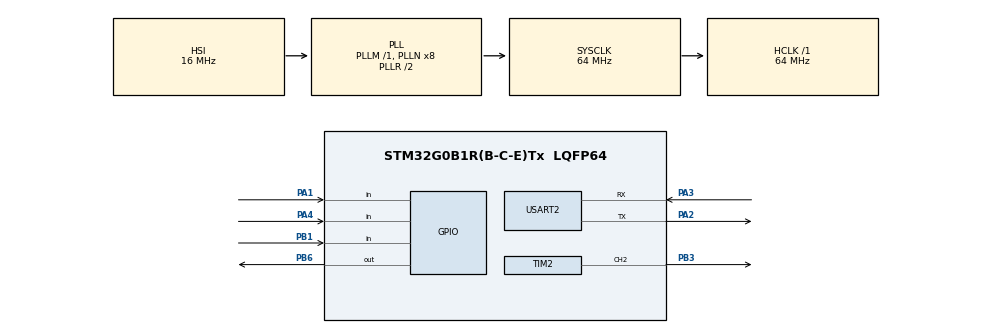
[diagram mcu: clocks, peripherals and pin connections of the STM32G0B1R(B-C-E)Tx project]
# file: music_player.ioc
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Mcu.Family=STM32G0
Mcu.Name=STM32G0B1R(B-C-E)Tx
Mcu.Package=LQFP64
NVIC.USART2_LPUART2_IRQn=true\:0\:0\:false\:false\:true\:true\:true\:true
PA1.Signal=GPIO_Input
PA2.Mode=Asynchronous
PA2.Signal=USART2_TX
PA3.Mode=Asynchronous
PA3.Signal=USART2_RX
PA4.Signal=GPIO_Input
PB1.Signal=GPIO_Input
PB3.Signal=S_TIM2_CH2
PB6.Signal=GPIO_Output
PF0-OSC_IN\ (PF0).Mode=HSE-External-Oscillator
PF0-OSC_IN\ (PF0).Signal=RCC_OSC_IN
PF1-OSC_OUT\ (PF1).Mode=HSE-External-Oscillator
PF1-OSC_OUT\ (PF1).Signal=RCC_OSC_OUT
ProjectManager.HeapSize=0x200
ProjectManager.StackSize=0x400
ProjectManager.TargetToolchain=STM32CubeIDE
RCC.ADCFreq_Value=64000000
RCC.AHBFreq_Value=64000000
RCC.CortexFreq_Value=64000000
RCC.EXTERNAL_CLOCK_VALUE=48000
RCC.HCLKFreq_Value=64000000
RCC.HSE_VALUE=8000000
RCC.HSI48_VALUE=48000000
RCC.HSI_VALUE=16000000
RCC.LSE_VALUE=32768
RCC.SYSCLKFreq_VALUE=64000000
RCC.SYSCLKSource=RCC_SYSCLKSOURCE_PLLCLK
RCC.USBFreq_Value=48000000
RCC.VCOOutputFreq_Value=128000000
SH.S_TIM2_CH2.0=TIM2_CH2,PWM Generation2 CH2
TIM2.Channel-PWM\ Generation2\ CH2=TIM_CHANNEL_2
TIM2.Period=400
TIM2.Prescaler=64
USART2.VirtualMode-Asynchronous=VM_ASYNC
VP_SYS_VS_DBSignals.Mode=DisableDeadBatterySignals
VP_TIM2_VS_ClockSourceINT.Mode=Internal
board=custom

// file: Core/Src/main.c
/* USER CODE BEGIN Header */
/**
  ******************************************************************************
  * @file           : main.c
  * @brief          : Main program body
  ******************************************************************************
  * @attention
  *
  * Copyright (c) 2024 STMicroelectronics.
  * All rights reserved.
  *
  * This software is licensed under terms that can be found in the LICENSE file
  * in the root directory of this software component.
  * If no LICENSE file comes with this software, it is provided AS-IS.
  *
  ******************************************************************************
  */
/* USER CODE END Header */
#include "main.h"

/* USER CODE BEGIN Includes */

#include "notes.h"
#include "songs.h"

/* USER CODE END Includes */

TIM_HandleTypeDef htim2;

UART_HandleTypeDef huart2;

void SystemClock_Config(void);
static void MX_GPIO_Init(void);
static void MX_USART2_UART_Init(void);
static void MX_TIM2_Init(void);

int main(void)
{

  /* MCU Configuration--------------------------------------------------------*/

  /* Reset of all peripherals, Initializes the Flash interface and the Systick. */
  HAL_Init();

  /* Configure the system clock */
  SystemClock_Config();

  /* Initialize all configured peripherals */
  MX_GPIO_Init();
  MX_USART2_UART_Init();
  MX_TIM2_Init();

  /* Infinite loop */
  /* USER CODE BEGIN WHILE */
  HAL_TIM_Base_Start(&htim2);
  HAL_TIM_PWM_Start(&htim2, TIM_CHANNEL_2);
  __HAL_TIM_ENABLE_IT(&htim2, TIM_IT_UPDATE);

  uint8_t Rx_data[4];
  uint8_t lastNote;
  uint8_t lastCMD;

  short noteON = 0;
  short midiMode = 0;

  struct MIDI_message {
    union {
      struct {
        uint8_t channel : 4;
        uint8_t message_type : 4;
      };
      uint8_t status;
    };
    uint8_t data1;
    uint8_t data2;
  };

  while (1)
  {
	 /* */

	  if (midiMode) {
		  while(HAL_UART_Receive(&huart2, Rx_data, 3, 20) != HAL_OK);
	  }
	    // receive 4 bytes of data

	  uint8_t midi_status = Rx_data[0];
	  uint8_t cmd  = (midi_status & 0b11110000);
	  uint8_t chan  = (midi_status & 0b00001111);
	  uint8_t note = Rx_data[1];
	  uint8_t vel = Rx_data[2];

	  if(cmd == NOTE_ON && (noteON == 0 || note != lastNote)) {
		  note_start(midi_notes[note - 48]);
		  lastNote = note;

		/* uint8_t out[20];
		 sprintf(out, "|%d, %d, %d, %d\n\r", Rx_data[0], note, note, lastCMD);
		 HAL_UART_Transmit(&huart2, out, sizeof(out), 10);*/

		  noteON = 1;

	  } else if(cmd == NOTE_OFF) {
		  no_tone();
		  noteON = 0;
	  }

	  lastCMD = cmd;

	  if(HAL_GPIO_ReadPin (GPIOA, GPIO_PIN_1 ) == 0)
	  {
		  play_poker_face();
	  }

	  if(HAL_GPIO_ReadPin (GPIOB, GPIO_PIN_1 ) == 0)
	  	  {
		  play_faded();
	  	  }

	  if(HAL_GPIO_ReadPin (GPIOA, GPIO_PIN_4 ) == 0)
	  	  {
		  	  HAL_Delay(1000);
		  	  if(HAL_GPIO_ReadPin (GPIOA, GPIO_PIN_4 ) == 0) midiMode = !midiMode;
		  	  else play_pirates_carribbean();
	  	  }

	  HAL_Delay(5);

    /* USER CODE END WHILE */

  }
}

void SystemClock_Config(void)
{
  RCC_OscInitTypeDef RCC_OscInitStruct = {0};
  RCC_ClkInitTypeDef RCC_ClkInitStruct = {0};

  /** Configure the main internal regulator output voltage
  */
  HAL_PWREx_ControlVoltageScaling(PWR_REGULATOR_VOLTAGE_SCALE1);

  /** Initializes the RCC Oscillators according to the specified parameters
  * in the RCC_OscInitTypeDef structure.
  */
  RCC_OscInitStruct.OscillatorType = RCC_OSCILLATORTYPE_HSI;
  RCC_OscInitStruct.HSIState = RCC_HSI_ON;
  RCC_OscInitStruct.HSIDiv = RCC_HSI_DIV1;
  RCC_OscInitStruct.HSICalibrationValue = RCC_HSICALIBRATION_DEFAULT;
  RCC_OscInitStruct.PLL.PLLState = RCC_PLL_ON;
  RCC_OscInitStruct.PLL.PLLSource = RCC_PLLSOURCE_HSI;
  RCC_OscInitStruct.PLL.PLLM = RCC_PLLM_DIV1;
  RCC_OscInitStruct.PLL.PLLN = 8;
  RCC_OscInitStruct.PLL.PLLP = RCC_PLLP_DIV2;
  RCC_OscInitStruct.PLL.PLLQ = RCC_PLLQ_DIV2;
  RCC_OscInitStruct.PLL.PLLR = RCC_PLLR_DIV2;
  if (HAL_RCC_OscConfig(&RCC_OscInitStruct) != HAL_OK)
  {
    Error_Handler();
  }

  /** Initializes the CPU, AHB and APB buses clocks
  */
  RCC_ClkInitStruct.ClockType = RCC_CLOCKTYPE_HCLK|RCC_CLOCKTYPE_SYSCLK
                              |RCC_CLOCKTYPE_PCLK1;
  RCC_ClkInitStruct.SYSCLKSource = RCC_SYSCLKSOURCE_PLLCLK;
  RCC_ClkInitStruct.AHBCLKDivider = RCC_SYSCLK_DIV1;
  RCC_ClkInitStruct.APB1CLKDivider = RCC_HCLK_DIV1;

  if (HAL_RCC_ClockConfig(&RCC_ClkInitStruct, FLASH_LATENCY_2) != HAL_OK)
  {
    Error_Handler();
  }
}

static void MX_TIM2_Init(void)
{

  TIM_ClockConfigTypeDef sClockSourceConfig = {0};
  TIM_MasterConfigTypeDef sMasterConfig = {0};
  TIM_OC_InitTypeDef sConfigOC = {0};

  htim2.Instance = TIM2;
  htim2.Init.Prescaler = 64;
  htim2.Init.CounterMode = TIM_COUNTERMODE_UP;
  htim2.Init.Period = 400;
  htim2.Init.ClockDivision = TIM_CLOCKDIVISION_DIV1;
  htim2.Init.AutoReloadPreload = TIM_AUTORELOAD_PRELOAD_DISABLE;
  if (HAL_TIM_Base_Init(&htim2) != HAL_OK)
  {
    Error_Handler();
  }
  sClockSourceConfig.ClockSource = TIM_CLOCKSOURCE_INTERNAL;
  if (HAL_TIM_ConfigClockSource(&htim2, &sClockSourceConfig) != HAL_OK)
  {
    Error_Handler();
  }
  if (HAL_TIM_PWM_Init(&htim2) != HAL_OK)
  {
    Error_Handler();
  }
  sMasterConfig.MasterOutputTrigger = TIM_TRGO_RESET;
  sMasterConfig.MasterSlaveMode = TIM_MASTERSLAVEMODE_DISABLE;
  if (HAL_TIMEx_MasterConfigSynchronization(&htim2, &sMasterConfig) != HAL_OK)
  {
    Error_Handler();
  }
  sConfigOC.OCMode = TIM_OCMODE_PWM1;
  sConfigOC.Pulse = 0;
  sConfigOC.OCPolarity = TIM_OCPOLARITY_HIGH;
  sConfigOC.OCFastMode = TIM_OCFAST_DISABLE;
  if (HAL_TIM_PWM_ConfigChannel(&htim2, &sConfigOC, TIM_CHANNEL_2) != HAL_OK)
  {
    Error_Handler();
  }
  HAL_TIM_MspPostInit(&htim2);

}

static void MX_USART2_UART_Init(void)
{

  huart2.Instance = USART2;
  huart2.Init.BaudRate = 115200;
  huart2.Init.WordLength = UART_WORDLENGTH_8B;
  huart2.Init.StopBits = UART_STOPBITS_1;
  huart2.Init.Parity = UART_PARITY_NONE;
  huart2.Init.Mode = UART_MODE_TX_RX;
  huart2.Init.HwFlowCtl = UART_HWCONTROL_NONE;
  huart2.Init.OverSampling = UART_OVERSAMPLING_16;
  huart2.Init.OneBitSampling = UART_ONE_BIT_SAMPLE_DISABLE;
  huart2.Init.ClockPrescaler = UART_PRESCALER_DIV1;
  huart2.AdvancedInit.AdvFeatureInit = UART_ADVFEATURE_NO_INIT;
  if (HAL_UART_Init(&huart2) != HAL_OK)
  {
    Error_Handler();
  }
  if (HAL_UARTEx_SetTxFifoThreshold(&huart2, UART_TXFIFO_THRESHOLD_1_8) != HAL_OK)
  {
    Error_Handler();
  }
  if (HAL_UARTEx_SetRxFifoThreshold(&huart2, UART_RXFIFO_THRESHOLD_1_8) != HAL_OK)
  {
    Error_Handler();
  }
  if (HAL_UARTEx_DisableFifoMode(&huart2) != HAL_OK)
  {
    Error_Handler();
  }

}

static void MX_GPIO_Init(void)
{
  GPIO_InitTypeDef GPIO_InitStruct = {0};

  /* GPIO Ports Clock Enable */
  __HAL_RCC_GPIOF_CLK_ENABLE();
  __HAL_RCC_GPIOA_CLK_ENABLE();
  __HAL_RCC_GPIOB_CLK_ENABLE();

  /*Configure GPIO pin Output Level */
  HAL_GPIO_WritePin(GPIOB, GPIO_PIN_6, GPIO_PIN_RESET);

  /*Configure GPIO pins : PA1 PA4 */
  GPIO_InitStruct.Pin = GPIO_PIN_1|GPIO_PIN_4;
  GPIO_InitStruct.Mode = GPIO_MODE_INPUT;
  GPIO_InitStruct.Pull = GPIO_NOPULL;
  HAL_GPIO_Init(GPIOA, &GPIO_InitStruct);

  /*Configure GPIO pin : PB1 */
  GPIO_InitStruct.Pin = GPIO_PIN_1;
  GPIO_InitStruct.Mode = GPIO_MODE_INPUT;
  GPIO_InitStruct.Pull = GPIO_NOPULL;
  HAL_GPIO_Init(GPIOB, &GPIO_InitStruct);

  /*Configure GPIO pin : PB6 */
  GPIO_InitStruct.Pin = GPIO_PIN_6;
  GPIO_InitStruct.Mode = GPIO_MODE_OUTPUT_PP;
  GPIO_InitStruct.Pull = GPIO_NOPULL;
  GPIO_InitStruct.Speed = GPIO_SPEED_FREQ_LOW;
  HAL_GPIO_Init(GPIOB, &GPIO_InitStruct);

}

void Error_Handler(void)
{
  __disable_irq();
  while (1)
  {
  }
}
